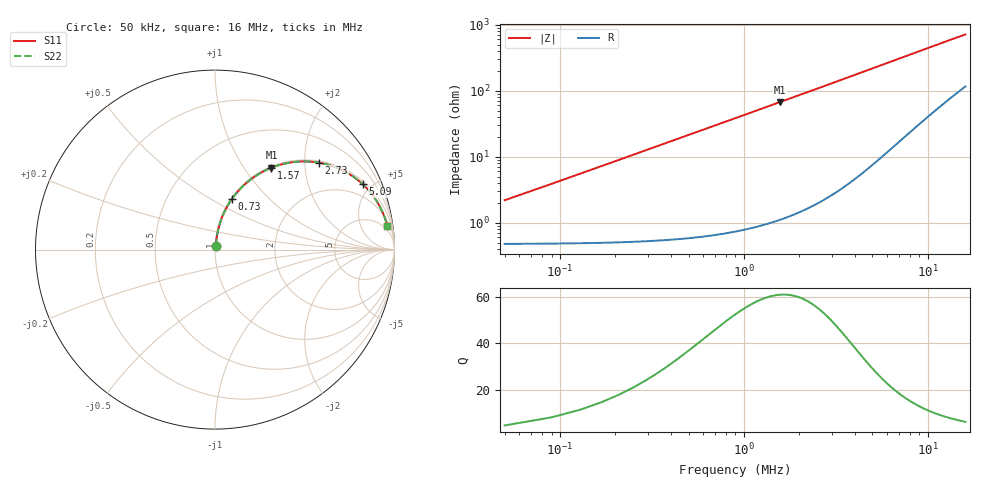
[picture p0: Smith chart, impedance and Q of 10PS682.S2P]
! Coilcraft 1008PS-682 Power Chip Inductor
! 7 October 2002
# MHZ S MA R 50
!Freq  MagS11  AngS11  MagS21  AngS21  MagS12  AngS12  MagS22  AngS22
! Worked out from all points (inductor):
!   400 points, 50 kHz to 16 MHz, reference 50 ohm
!   read as one part in series: L = 6.8 uH near 130 kHz
!   highest Q = 61 at 1.57 MHz (marker M1), where L = 6.82 uH
!   S11 on the Smith chart (normalised r, x): 50 kHz: 1.01, +0.04; 730 kHz: 1.01, +0.62; 1.57 MHz: 1.02, +1.35; 2.73 MHz: 1.04, +2.35; 5.09 MHz: 1.16, +4.45; 16 MHz: 3, +14
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0.05  0.02178 76.2  0.995 -1.2  0.995 -1.2  0.02178 76.2
0.09  0.03854 80.7  0.9945 -2.2  0.9945 -2.2  0.03854 80.7
0.13  0.0554 81.8  0.9936 -3.2  0.9936 -3.2  0.0554 81.8
0.17  0.07226 82.0  0.9925 -4.1  0.9925 -4.1  0.07226 82.0
0.25  0.1058 81.2  0.9893 -6.1  0.9893 -6.1  0.1058 81.2
0.33  0.139 79.9  0.9851 -8.0  0.9851 -8.0  0.139 79.9
0.45  0.1879 77.5  0.9767 -10.8  0.9767 -10.8  0.1879 77.5
0.57  0.2354 75.0  0.9661 -13.6  0.9661 -13.6  0.2354 75.0
0.73  0.2962 71.6  0.9489 -17.2  0.9489 -17.2  0.2962 71.6
1.09  0.4199 64.2  0.9002 -24.8  0.9002 -24.8  0.4199 64.2
1.57  0.5541 55.4  0.8234 -33.6  0.8234 -33.6  0.5541 55.4
2.09  0.6626 47.5  0.7379 -41.5  0.7379 -41.5  0.6626 47.5
2.73  0.755 39.9  0.6416 -49.0  0.6416 -49.0  0.755 39.9
3.21  0.8032 35.4  0.5789 -53.4  0.5789 -53.4  0.8032 35.4
3.77  0.8439 31.1  0.5161 -57.5  0.5161 -57.5  0.8439 31.1
5.09  0.9004 23.9  0.4046 -64.1  0.4046 -64.1  0.9004 23.9
5.37  0.9079 22.7  0.3862 -65.1  0.3862 -65.1  0.9079 22.7
6.57  0.9309 18.7  0.3216 -68.4  0.3216 -68.4  0.9309 18.7
8.05  0.9466 15.4  0.2653 -70.8  0.2653 -70.8  0.9466 15.4
10.69  0.9598 11.6  0.2013 -72.8  0.2013 -72.8  0.9598 11.6
13.37  0.9658 9.2  0.1617 -73.2  0.1617 -73.2  0.9658 9.2
16  0.9689 7.7  0.1357 -72.9  0.1357 -72.9  0.9689 7.7
